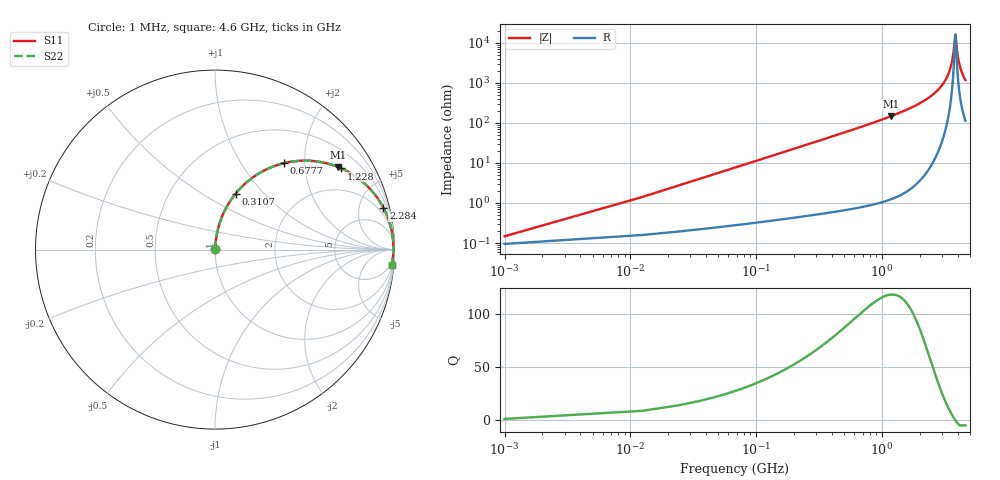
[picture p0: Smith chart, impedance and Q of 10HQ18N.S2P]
! Coilcraft 1008HQ-18N Chip Inductor
! 10 July 2002
# MHZ S MA R 50
!Freq  MagS11  AngS11  MagS21  AngS21  MagS12  AngS12  MagS22  AngS22
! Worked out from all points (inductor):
!   402 points, 1 MHz to 4.6 GHz, reference 50 ohm
!   read as one part in series: L = 18 nH near 23.94 MHz
!   highest Q = 119 at 1.182 GHz (marker M1), where L = 19.9 nH
!   self-resonance near 3.821 GHz
!   S11 on the Smith chart (normalised r, x): 1 MHz: 1.00, +0.00; 310.7 MHz: 1.01, +0.71; 677.7 MHz: 1.02, +1.58; 1.228 GHz: 1.03, +3.10; 2.284 GHz: 1.12, +8.01; 4.6 GHz: 3, -23
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1  0.001478 49.8  0.999 -0.1  0.999 -0.1  0.001478 49.8
35.41  0.03999 84.6  0.997 -2.3  0.997 -2.3  0.03999 84.6
69.82  0.07858 83.5  0.9941 -4.5  0.9941 -4.5  0.07858 83.5
161.58  0.1794 78.4  0.9799 -10.3  0.9799 -10.3  0.1794 78.4
310.69  0.332 69.8  0.9384 -19.4  0.9384 -19.4  0.332 69.8
677.73  0.6176 51.3  0.7804 -38.1  0.7804 -38.1  0.6176 51.3
769.49  0.6687 47.5  0.7373 -42.0  0.7373 -42.0  0.6687 47.5
1182.41  0.8251 33.9  0.5581 -55.6  0.5581 -55.6  0.8251 33.9
1228.29  0.8369 32.7  0.5404 -56.8  0.5404 -56.8  0.8369 32.7
1537.98  0.8976 25.6  0.4328 -63.8  0.4328 -63.8  0.8976 25.6
2283.53  0.9668 14.0  0.2412 -75.2  0.2412 -75.2  0.9668 14.0
2306.47  0.968 13.7  0.2365 -75.4  0.2365 -75.4  0.968 13.7
3074.96  0.9903 5.8  0.1012 -81.6  0.1012 -81.6  0.9903 5.8
3350.24  0.993 3.5  0.06169 -81.8  0.06169 -81.8  0.993 3.5
3545.23  0.9939 2.0  0.03586 -79.2  0.03586 -79.2  0.9939 2.0
3682.87  0.9941 1.0  0.01885 -71.1  0.01885 -71.1  0.9941 1.0
3809.04  0.9939 0.1  0.006566 -22.0  0.006566 -22.0  0.9939 0.1
3843.45  0.9938 -0.1  0.00638 14.9  0.00638 14.9  0.9938 -0.1
3969.62  0.9934 -0.9  0.01769 67.6  0.01769 67.6  0.9934 -0.9
4107.26  0.9926 -1.8  0.0328 76.1  0.0328 76.1  0.9926 -1.8
4313.72  0.9911 -3.1  0.05506 79.1  0.05506 79.1  0.9911 -3.1
4600  0.9882 -4.8  0.08444 79.6  0.08444 79.6  0.9882 -4.8
